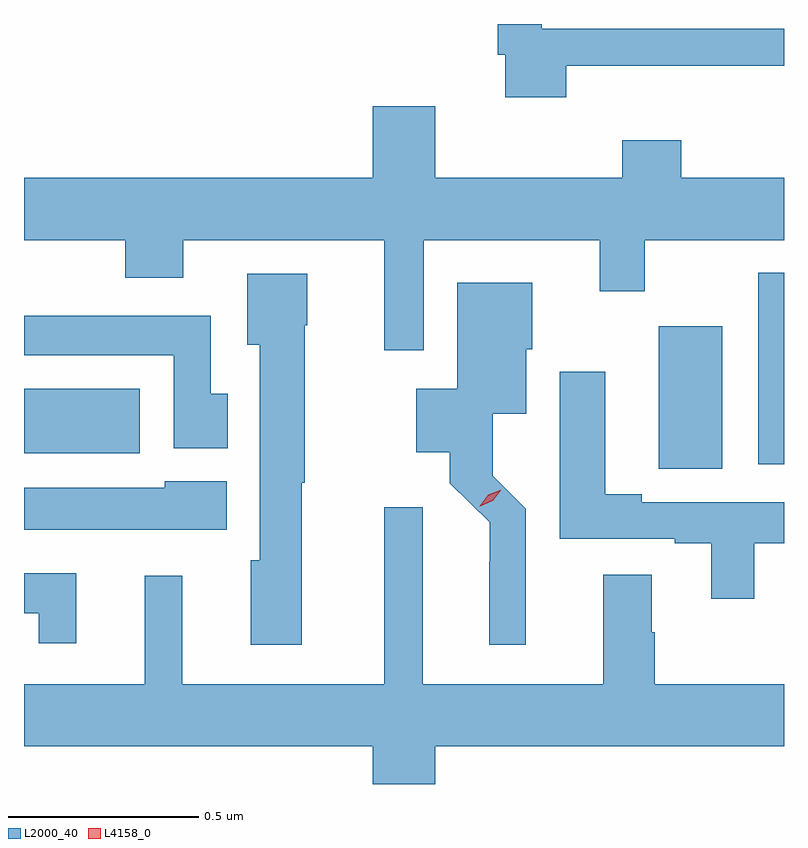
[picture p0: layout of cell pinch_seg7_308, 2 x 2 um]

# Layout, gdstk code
import gdstk
lib = gdstk.Library(unit=1e-6, precision=1e-09)
def R(c, l, rs):  # rectangles x0, y0, x1, y1
    for r in rs: c.add(gdstk.rectangle(r[:2], r[2:], *l))
def P(c, l, *ps):  # polygons
    for p in ps: c.add(gdstk.Polygon(p, *l))
L2000_40 = (2000, 40)
L4158_0 = (4158, 0)

pinch_seg7_308 = lib.new_cell('pinch_seg7_308')
R(pinch_seg7_308, L2000_40, [(513.413,1050.63,513.58,1051.006), (513.674,1050.642,513.742,1051.147), (511.742,1050.671,512.047,1050.841)])
P(pinch_seg7_308, L2000_40, [(513.169,1051.691),(513.742,1051.691),(513.742,1051.788),(513.105,1051.788),(513.105,1051.801),(512.989,1051.801),(512.989,1051.72),(513.008,1051.72),(513.008,1051.608),(513.169,1051.608)],
  [(512.794,1051.232),(513.257,1051.232),(513.257,1051.098),(513.375,1051.098),(513.375,1051.232),(513.742,1051.232),(513.742,1051.396),(513.471,1051.396),(513.471,1051.495),(513.316,1051.495),(513.316,1051.396),(512.824,1051.396),(512.824,1051.585),(512.66,1051.585),(512.66,1051.396),(511.742,1051.396),(511.742,1051.232),(512.009,1051.232),(512.009,1051.133),(512.161,1051.133),(512.161,1051.232),(512.69,1051.232),(512.69,1050.942),(512.794,1050.942)],
  [(512.473,1050.594),(512.481,1050.594),(512.481,1051.008),(512.488,1051.008),(512.488,1051.144),(512.33,1051.144),(512.33,1050.957),(512.363,1050.957),(512.363,1050.39),(512.339,1050.39),(512.339,1050.168),(512.473,1050.168)],
  [(513.063,1050.525),(512.976,1050.612),(512.976,1050.776),(513.064,1050.776),(513.064,1050.945),(513.079,1050.945),(513.079,1051.12),(512.882,1051.12),(512.882,1050.841),(512.774,1050.841),(512.774,1050.674),(512.863,1050.674),(512.863,1050.593),(512.967,1050.49),(512.967,1050.386),(512.966,1050.386),(512.966,1050.168),(513.063,1050.168)],
  [(512.278,1050.828),(512.233,1050.828),(512.233,1051.033),(511.742,1051.033),(511.742,1050.929),(512.136,1050.929),(512.136,1050.684),(512.278,1050.684)],
  [(513.664,1050.435),(513.742,1050.435),(513.742,1050.543),(513.367,1050.543),(513.367,1050.563),(513.271,1050.563),(513.271,1050.886),(513.152,1050.886),(513.152,1050.447),(513.455,1050.447),(513.455,1050.435),(513.551,1050.435),(513.551,1050.288),(513.664,1050.288)],
  [(512.275,1050.598),(512.112,1050.598),(512.112,1050.58),(511.742,1050.58),(511.742,1050.47),(512.275,1050.47)],
  [(512.824,1049.9),(513.742,1049.9),(513.742,1050.064),(513.402,1050.064),(513.402,1050.2),(513.394,1050.2),(513.394,1050.352),(513.266,1050.352),(513.266,1050.064),(512.791,1050.064),(512.791,1050.529),(512.69,1050.529),(512.69,1050.064),(512.159,1050.064),(512.159,1050.349),(512.06,1050.349),(512.06,1050.064),(511.742,1050.064),(511.742,1049.9),(512.66,1049.9),(512.66,1049.801),(512.824,1049.801)],
  [(511.88,1050.355),(511.742,1050.355),(511.742,1050.251),(511.781,1050.251),(511.781,1050.171),(511.88,1050.171)])
P(pinch_seg7_308, L4158_0, [(512.941,1050.532),(512.941,1050.532),(512.964,1050.562),(512.998,1050.576),(512.998,1050.576),(512.998,1050.576),(512.976,1050.546),(512.942,1050.532)])

lib.write_gds('pinch_seg7_308.gds')
